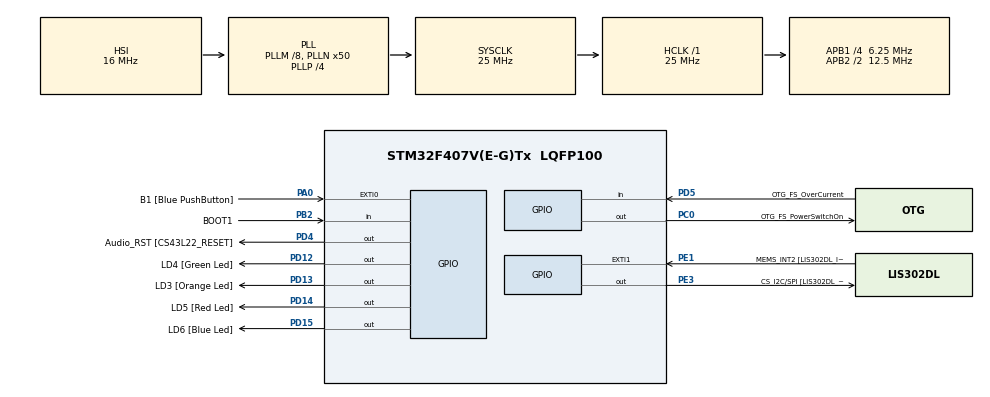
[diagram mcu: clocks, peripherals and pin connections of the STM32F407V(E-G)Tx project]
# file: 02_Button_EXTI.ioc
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Mcu.Family=STM32F4
Mcu.Name=STM32F407V(E-G)Tx
Mcu.Package=LQFP100
NVIC.PriorityGroup=NVIC_PRIORITYGROUP_0
PA0-WKUP.GPIO_Label=B1 [Blue PushButton]
PA0-WKUP.Signal=GPXTI0
PA10.GPIO_Label=OTG_FS_ID
PA10.GPIO_Mode=GPIO_MODE_AF_PP
PA10.GPIO_PuPd=GPIO_NOPULL
PA10.GPIO_Speed=GPIO_SPEED_FREQ_LOW
PA10.Signal=USB_OTG_FS_ID
PA11.GPIO_Label=OTG_FS_DM
PA11.GPIO_Mode=GPIO_MODE_AF_PP
PA11.GPIO_PuPd=GPIO_NOPULL
PA11.GPIO_Speed=GPIO_SPEED_FREQ_LOW
PA11.Signal=USB_OTG_FS_DM
PA12.GPIO_Label=OTG_FS_DP
PA12.GPIO_Mode=GPIO_MODE_AF_PP
PA12.GPIO_PuPd=GPIO_NOPULL
PA12.GPIO_Speed=GPIO_SPEED_FREQ_LOW
PA12.Signal=USB_OTG_FS_DP
PA13.GPIO_Label=SWDIO
PA13.Signal=SYS_JTMS-SWDIO
PA14.GPIO_Label=SWCLK
PA14.Signal=SYS_JTCK-SWCLK
PA4.GPIO_Label=I2S3_WS [CS43L22_LRCK]
PA4.GPIO_Mode=GPIO_MODE_AF_PP
PA4.GPIO_PuPd=GPIO_NOPULL
PA4.GPIO_Speed=GPIO_SPEED_FREQ_LOW
PA4.Signal=I2S3_WS
PA5.GPIO_Label=SPI1_SCK [LIS302DL_SCL/SPC]
PA5.GPIO_Mode=GPIO_MODE_AF_PP
PA5.GPIO_PuPd=GPIO_NOPULL
PA5.GPIO_Speed=GPIO_SPEED_FREQ_LOW
PA5.Signal=SPI1_SCK
PA6.GPIO_Label=SPI1_MISO [LIS302DL_SDO]
PA6.GPIO_Mode=GPIO_MODE_AF_PP
PA6.GPIO_PuPd=GPIO_NOPULL
PA6.GPIO_Speed=GPIO_SPEED_FREQ_LOW
PA6.Signal=SPI1_MISO
PA7.GPIO_Label=SPI1_MOSI [LIS302DL_SDA/SDI/SDO]
PA7.GPIO_Mode=GPIO_MODE_AF_PP
PA7.GPIO_PuPd=GPIO_NOPULL
PA7.GPIO_Speed=GPIO_SPEED_FREQ_LOW
PA7.Signal=SPI1_MOSI
PA9.GPIO_Label=VBUS_FS
PA9.GPIO_Mode=GPIO_MODE_INPUT
PA9.GPIO_PuPd=GPIO_NOPULL
PA9.Signal=USB_OTG_FS_VBUS
PB10.GPIO_Label=CLK_IN [MP45DT02_CLK]
PB10.GPIO_Mode=GPIO_MODE_AF_PP
PB10.GPIO_PuPd=GPIO_NOPULL
PB10.GPIO_Speed=GPIO_SPEED_FREQ_LOW
PB10.Signal=I2S2_CK
PB2.GPIO_Label=BOOT1
PB2.GPIO_Mode=GPIO_MODE_INPUT
PB2.GPIO_PuPd=GPIO_NOPULL
PB2.Signal=GPIO_Input
PB3.GPIO_Label=SWO
PB3.Signal=SYS_JTDO-SWO
PB6.GPIO_Label=Audio_SCL [CS43L22_SCL]
PB6.GPIO_Mode=GPIO_MODE_AF_OD
PB6.GPIO_PuPd=GPIO_NOPULL
PB6.GPIO_Speed=GPIO_SPEED_FREQ_LOW
PB6.Signal=I2C1_SCL
PB9.GPIO_Label=Audio_SDA [CS43L22_SDA]
PB9.GPIO_Mode=GPIO_MODE_AF_OD
PB9.GPIO_PuPd=GPIO_NOPULL
PB9.GPIO_Speed=GPIO_SPEED_FREQ_LOW
PB9.Signal=I2C1_SDA
PC0.GPIO_Label=OTG_FS_PowerSwitchOn
PC0.GPIO_PuPd=GPIO_NOPULL
PC0.GPIO_Speed=GPIO_SPEED_FREQ_LOW
PC0.PinState=GPIO_PIN_SET
PC0.Signal=GPIO_Output
PC10.GPIO_Label=I2S3_SCK [CS43L22_SCLK]
PC10.GPIO_Mode=GPIO_MODE_AF_PP
PC10.GPIO_PuPd=GPIO_NOPULL
PC10.GPIO_Speed=GPIO_SPEED_FREQ_LOW
PC10.Signal=I2S3_CK
PC12.GPIO_Label=I2S3_SD [CS43L22_SDIN]
PC12.GPIO_Mode=GPIO_MODE_AF_PP
PC12.GPIO_PuPd=GPIO_NOPULL
PC12.GPIO_Speed=GPIO_SPEED_FREQ_LOW
PC12.Signal=I2S3_SD
PC14-OSC32_IN.GPIO_Label=PC14-OSC32_IN
PC14-OSC32_IN.Signal=RCC_OSC32_IN
PC15-OSC32_OUT.GPIO_Label=PC15-OSC32_OUT
PC15-OSC32_OUT.Signal=RCC_OSC32_OUT
PC3.GPIO_Label=PDM_OUT [MP45DT02_DOUT]
PC3.GPIO_Mode=GPIO_MODE_AF_PP
PC3.GPIO_PuPd=GPIO_NOPULL
PC3.GPIO_Speed=GPIO_SPEED_FREQ_LOW
PC3.Signal=I2S2_SD
PC7.GPIO_Label=I2S3_MCK [CS43L22_MCLK]
PC7.GPIO_Mode=GPIO_MODE_AF_PP
PC7.GPIO_PuPd=GPIO_NOPULL
PC7.GPIO_Speed=GPIO_SPEED_FREQ_LOW
PC7.Signal=I2S3_MCK
PD12.GPIO_Label=LD4 [Green Led]
PD12.GPIO_PuPd=GPIO_NOPULL
PD12.GPIO_Speed=GPIO_SPEED_FREQ_LOW
PD12.Signal=GPIO_Output
PD13.GPIO_Label=LD3 [Orange Led]
PD13.GPIO_PuPd=GPIO_NOPULL
PD13.GPIO_Speed=GPIO_SPEED_FREQ_LOW
PD13.Signal=GPIO_Output
PD14.GPIO_Label=LD5 [Red Led]
PD14.GPIO_PuPd=GPIO_NOPULL
PD14.GPIO_Speed=GPIO_SPEED_FREQ_LOW
PD14.Signal=GPIO_Output
PD15.GPIO_Label=LD6 [Blue Led]
PD15.GPIO_PuPd=GPIO_NOPULL
PD15.GPIO_Speed=GPIO_SPEED_FREQ_LOW
PD15.Signal=GPIO_Output
PD4.GPIO_Label=Audio_RST [CS43L22_RESET]
PD4.GPIO_PuPd=GPIO_NOPULL
PD4.GPIO_Speed=GPIO_SPEED_FREQ_LOW
PD4.Signal=GPIO_Output
PD5.GPIO_Label=OTG_FS_OverCurrent
PD5.GPIO_Mode=GPIO_MODE_INPUT
PD5.GPIO_PuPd=GPIO_NOPULL
PD5.Signal=GPIO_Input
PE1.GPIO_Label=MEMS_INT2 [LIS302DL_INT2]
PE1.GPIO_ModeDefaultEXTI=GPIO_MODE_EVT_RISING
PE1.GPIO_PuPd=GPIO_NOPULL
PE1.Signal=GPXTI1
PE3.GPIO_Label=CS_I2C/SPI [LIS302DL_CS_I2C/SPI]
PE3.GPIO_PuPd=GPIO_NOPULL
PE3.GPIO_Speed=GPIO_SPEED_FREQ_LOW
PE3.Signal=GPIO_Output
PH0-OSC_IN.GPIO_Label=PH0-OSC_IN
PH0-OSC_IN.Mode=HSE-External-Oscillator
PH0-OSC_IN.Signal=RCC_OSC_IN
PH1-OSC_OUT.GPIO_Label=PH1-OSC_OUT
PH1-OSC_OUT.Mode=HSE-External-Oscillator
PH1-OSC_OUT.Signal=RCC_OSC_OUT
ProjectManager.HeapSize=0x200
ProjectManager.StackSize=0x400
ProjectManager.TargetToolchain=STM32CubeIDE
RCC.48MHZClocksFreq_Value=14285714.285714285
RCC.AHBFreq_Value=25000000
RCC.APB1CLKDivider=RCC_HCLK_DIV4
RCC.APB1Freq_Value=6250000
RCC.APB1TimFreq_Value=12500000
RCC.APB2CLKDivider=RCC_HCLK_DIV2
RCC.APB2Freq_Value=12500000
RCC.APB2TimFreq_Value=25000000
RCC.CortexFreq_Value=25000000
RCC.HCLKFreq_Value=25000000
RCC.HSE_VALUE=8000000
RCC.HSI_VALUE=16000000
RCC.LSE_VALUE=32768
RCC.PLLM=8
RCC.PLLN=50
RCC.PLLP=RCC_PLLP_DIV4
RCC.PLLQ=7
RCC.SYSCLKFreq_VALUE=25000000
RCC.SYSCLKSource=RCC_SYSCLKSOURCE_PLLCLK
RCC.VCOOutputFreq_Value=100000000
board=STM32F407G-DISC1

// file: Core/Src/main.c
/* USER CODE BEGIN Header */
/**
  ******************************************************************************
  * @file           : main.c
  * @brief          : Main program body
  ******************************************************************************
  * @attention
  *
  * Copyright (c) 2026 STMicroelectronics.
  * All rights reserved.
  *
  * This software is licensed under terms that can be found in the LICENSE file
  * in the root directory of this software component.
  * If no LICENSE file comes with this software, it is provided AS-IS.
  *
  ******************************************************************************
  */
/* USER CODE END Header */
#include "main.h"

void SystemClock_Config(void);
static void MX_GPIO_Init(void);

int main(void)
{

  /* USER CODE BEGIN 1 */
	RCC->AHB1ENR |= (1U << 0);
	RCC->AHB1ENR |= (1U << 3);
	volatile uint32_t dummy = RCC->AHB1ENR;
	(void)dummy;
	GPIOA->MODER &= ~(3U << 24);
	GPIOA->MODER |= ~(1U << 24);
	RCC->APB2ENR |= ~(1U << 14);
	SYSCFG->EXTICR[0] &= ~(0xFU << 0);
	EXTI->RTSR |= (1U << 0);
	EXTI->FTSR &= (1U << 0);
	EXTI->IMR |= (1U << 0);

	NVIC_SetPriority(EXTI0_IRQn, 1);
	NVIC_EnableIRQ(EXTI0_IRQn);
  /* USER CODE END 1 */

  /* MCU Configuration--------------------------------------------------------*/

  /* Reset of all peripherals, Initializes the Flash interface and the Systick. */
  HAL_Init();

  /* Configure the system clock */
  SystemClock_Config();

  /* Initialize all configured peripherals */
  MX_GPIO_Init();

  /* Infinite loop */
  while (1)
  {

  }
}

void SystemClock_Config(void)
{
  RCC_OscInitTypeDef RCC_OscInitStruct = {0};
  RCC_ClkInitTypeDef RCC_ClkInitStruct = {0};

  /** Configure the main internal regulator output voltage
  */
  __HAL_RCC_PWR_CLK_ENABLE();
  __HAL_PWR_VOLTAGESCALING_CONFIG(PWR_REGULATOR_VOLTAGE_SCALE1);

  /** Initializes the RCC Oscillators according to the specified parameters
  * in the RCC_OscInitTypeDef structure.
  */
  RCC_OscInitStruct.OscillatorType = RCC_OSCILLATORTYPE_HSI;
  RCC_OscInitStruct.HSIState = RCC_HSI_ON;
  RCC_OscInitStruct.HSICalibrationValue = RCC_HSICALIBRATION_DEFAULT;
  RCC_OscInitStruct.PLL.PLLState = RCC_PLL_ON;
  RCC_OscInitStruct.PLL.PLLSource = RCC_PLLSOURCE_HSI;
  RCC_OscInitStruct.PLL.PLLM = 8;
  RCC_OscInitStruct.PLL.PLLN = 50;
  RCC_OscInitStruct.PLL.PLLP = RCC_PLLP_DIV4;
  RCC_OscInitStruct.PLL.PLLQ = 7;
  if (HAL_RCC_OscConfig(&RCC_OscInitStruct) != HAL_OK)
  {
    Error_Handler();
  }

  /** Initializes the CPU, AHB and APB buses clocks
  */
  RCC_ClkInitStruct.ClockType = RCC_CLOCKTYPE_HCLK|RCC_CLOCKTYPE_SYSCLK
                              |RCC_CLOCKTYPE_PCLK1|RCC_CLOCKTYPE_PCLK2;
  RCC_ClkInitStruct.SYSCLKSource = RCC_SYSCLKSOURCE_PLLCLK;
  RCC_ClkInitStruct.AHBCLKDivider = RCC_SYSCLK_DIV1;
  RCC_ClkInitStruct.APB1CLKDivider = RCC_HCLK_DIV4;
  RCC_ClkInitStruct.APB2CLKDivider = RCC_HCLK_DIV2;

  if (HAL_RCC_ClockConfig(&RCC_ClkInitStruct, FLASH_LATENCY_0) != HAL_OK)
  {
    Error_Handler();
  }
}

static void MX_GPIO_Init(void)
{
  GPIO_InitTypeDef GPIO_InitStruct = {0};

  /* GPIO Ports Clock Enable */
  __HAL_RCC_GPIOE_CLK_ENABLE();
  __HAL_RCC_GPIOC_CLK_ENABLE();
  __HAL_RCC_GPIOH_CLK_ENABLE();
  __HAL_RCC_GPIOA_CLK_ENABLE();
  __HAL_RCC_GPIOB_CLK_ENABLE();
  __HAL_RCC_GPIOD_CLK_ENABLE();

  /*Configure GPIO pin Output Level */
  HAL_GPIO_WritePin(CS_I2C_SPI_GPIO_Port, CS_I2C_SPI_Pin, GPIO_PIN_RESET);

  /*Configure GPIO pin Output Level */
  HAL_GPIO_WritePin(OTG_FS_PowerSwitchOn_GPIO_Port, OTG_FS_PowerSwitchOn_Pin, GPIO_PIN_SET);

  /*Configure GPIO pin Output Level */
  HAL_GPIO_WritePin(GPIOD, LD4_Pin|LD3_Pin|LD5_Pin|LD6_Pin
                          |Audio_RST_Pin, GPIO_PIN_RESET);

  /*Configure GPIO pin : CS_I2C_SPI_Pin */
  GPIO_InitStruct.Pin = CS_I2C_SPI_Pin;
  GPIO_InitStruct.Mode = GPIO_MODE_OUTPUT_PP;
  GPIO_InitStruct.Pull = GPIO_NOPULL;
  GPIO_InitStruct.Speed = GPIO_SPEED_FREQ_LOW;
  HAL_GPIO_Init(CS_I2C_SPI_GPIO_Port, &GPIO_InitStruct);

  /*Configure GPIO pin : OTG_FS_PowerSwitchOn_Pin */
  GPIO_InitStruct.Pin = OTG_FS_PowerSwitchOn_Pin;
  GPIO_InitStruct.Mode = GPIO_MODE_OUTPUT_PP;
  GPIO_InitStruct.Pull = GPIO_NOPULL;
  GPIO_InitStruct.Speed = GPIO_SPEED_FREQ_LOW;
  HAL_GPIO_Init(OTG_FS_PowerSwitchOn_GPIO_Port, &GPIO_InitStruct);

  /*Configure GPIO pin : PDM_OUT_Pin */
  GPIO_InitStruct.Pin = PDM_OUT_Pin;
  GPIO_InitStruct.Mode = GPIO_MODE_AF_PP;
  GPIO_InitStruct.Pull = GPIO_NOPULL;
  GPIO_InitStruct.Speed = GPIO_SPEED_FREQ_LOW;
  GPIO_InitStruct.Alternate = GPIO_AF5_SPI2;
  HAL_GPIO_Init(PDM_OUT_GPIO_Port, &GPIO_InitStruct);

  /*Configure GPIO pin : B1_Pin */
  GPIO_InitStruct.Pin = B1_Pin;
  GPIO_InitStruct.Mode = GPIO_MODE_IT_RISING;
  GPIO_InitStruct.Pull = GPIO_NOPULL;
  HAL_GPIO_Init(B1_GPIO_Port, &GPIO_InitStruct);

  /*Configure GPIO pin : I2S3_WS_Pin */
  GPIO_InitStruct.Pin = I2S3_WS_Pin;
  GPIO_InitStruct.Mode = GPIO_MODE_AF_PP;
  GPIO_InitStruct.Pull = GPIO_NOPULL;
  GPIO_InitStruct.Speed = GPIO_SPEED_FREQ_LOW;
  GPIO_InitStruct.Alternate = GPIO_AF6_SPI3;
  HAL_GPIO_Init(I2S3_WS_GPIO_Port, &GPIO_InitStruct);

  /*Configure GPIO pins : SPI1_SCK_Pin SPI1_MISO_Pin SPI1_MOSI_Pin */
  GPIO_InitStruct.Pin = SPI1_SCK_Pin|SPI1_MISO_Pin|SPI1_MOSI_Pin;
  GPIO_InitStruct.Mode = GPIO_MODE_AF_PP;
  GPIO_InitStruct.Pull = GPIO_NOPULL;
  GPIO_InitStruct.Speed = GPIO_SPEED_FREQ_LOW;
  GPIO_InitStruct.Alternate = GPIO_AF5_SPI1;
  HAL_GPIO_Init(GPIOA, &GPIO_InitStruct);

  /*Configure GPIO pin : BOOT1_Pin */
  GPIO_InitStruct.Pin = BOOT1_Pin;
  GPIO_InitStruct.Mode = GPIO_MODE_INPUT;
  GPIO_InitStruct.Pull = GPIO_NOPULL;
  HAL_GPIO_Init(BOOT1_GPIO_Port, &GPIO_InitStruct);

  /*Configure GPIO pin : CLK_IN_Pin */
  GPIO_InitStruct.Pin = CLK_IN_Pin;
  GPIO_InitStruct.Mode = GPIO_MODE_AF_PP;
  GPIO_InitStruct.Pull = GPIO_NOPULL;
  GPIO_InitStruct.Speed = GPIO_SPEED_FREQ_LOW;
  GPIO_InitStruct.Alternate = GPIO_AF5_SPI2;
  HAL_GPIO_Init(CLK_IN_GPIO_Port, &GPIO_InitStruct);

  /*Configure GPIO pins : LD4_Pin LD3_Pin LD5_Pin LD6_Pin
                           Audio_RST_Pin */
  GPIO_InitStruct.Pin = LD4_Pin|LD3_Pin|LD5_Pin|LD6_Pin
                          |Audio_RST_Pin;
  GPIO_InitStruct.Mode = GPIO_MODE_OUTPUT_PP;
  GPIO_InitStruct.Pull = GPIO_NOPULL;
  GPIO_InitStruct.Speed = GPIO_SPEED_FREQ_LOW;
  HAL_GPIO_Init(GPIOD, &GPIO_InitStruct);

  /*Configure GPIO pins : I2S3_MCK_Pin I2S3_SCK_Pin I2S3_SD_Pin */
  GPIO_InitStruct.Pin = I2S3_MCK_Pin|I2S3_SCK_Pin|I2S3_SD_Pin;
  GPIO_InitStruct.Mode = GPIO_MODE_AF_PP;
  GPIO_InitStruct.Pull = GPIO_NOPULL;
  GPIO_InitStruct.Speed = GPIO_SPEED_FREQ_LOW;
  GPIO_InitStruct.Alternate = GPIO_AF6_SPI3;
  HAL_GPIO_Init(GPIOC, &GPIO_InitStruct);

  /*Configure GPIO pin : VBUS_FS_Pin */
  GPIO_InitStruct.Pin = VBUS_FS_Pin;
  GPIO_InitStruct.Mode = GPIO_MODE_INPUT;
  GPIO_InitStruct.Pull = GPIO_NOPULL;
  HAL_GPIO_Init(VBUS_FS_GPIO_Port, &GPIO_InitStruct);

  /*Configure GPIO pins : OTG_FS_ID_Pin OTG_FS_DM_Pin OTG_FS_DP_Pin */
  GPIO_InitStruct.Pin = OTG_FS_ID_Pin|OTG_FS_DM_Pin|OTG_FS_DP_Pin;
  GPIO_InitStruct.Mode = GPIO_MODE_AF_PP;
  GPIO_InitStruct.Pull = GPIO_NOPULL;
  GPIO_InitStruct.Speed = GPIO_SPEED_FREQ_LOW;
  GPIO_InitStruct.Alternate = GPIO_AF10_OTG_FS;
  HAL_GPIO_Init(GPIOA, &GPIO_InitStruct);

  /*Configure GPIO pin : OTG_FS_OverCurrent_Pin */
  GPIO_InitStruct.Pin = OTG_FS_OverCurrent_Pin;
  GPIO_InitStruct.Mode = GPIO_MODE_INPUT;
  GPIO_InitStruct.Pull = GPIO_NOPULL;
  HAL_GPIO_Init(OTG_FS_OverCurrent_GPIO_Port, &GPIO_InitStruct);

  /*Configure GPIO pins : Audio_SCL_Pin Audio_SDA_Pin */
  GPIO_InitStruct.Pin = Audio_SCL_Pin|Audio_SDA_Pin;
  GPIO_InitStruct.Mode = GPIO_MODE_AF_OD;
  GPIO_InitStruct.Pull = GPIO_NOPULL;
  GPIO_InitStruct.Speed = GPIO_SPEED_FREQ_LOW;
  GPIO_InitStruct.Alternate = GPIO_AF4_I2C1;
  HAL_GPIO_Init(GPIOB, &GPIO_InitStruct);

  /*Configure GPIO pin : MEMS_INT2_Pin */
  GPIO_InitStruct.Pin = MEMS_INT2_Pin;
  GPIO_InitStruct.Mode = GPIO_MODE_EVT_RISING;
  GPIO_InitStruct.Pull = GPIO_NOPULL;
  HAL_GPIO_Init(MEMS_INT2_GPIO_Port, &GPIO_InitStruct);

}

/* USER CODE BEGIN 4 */
void EXTI0_IRQHandler(void)
{
	if (EXTI->PR & (1U << 0))
	{
		GPIOD->ODR ^= (1U << 12);
		EXTI->PR |= (1U << 0);
	}
}
/* USER CODE END 4 */

void Error_Handler(void)
{
  __disable_irq();
  while (1)
  {
  }
}
